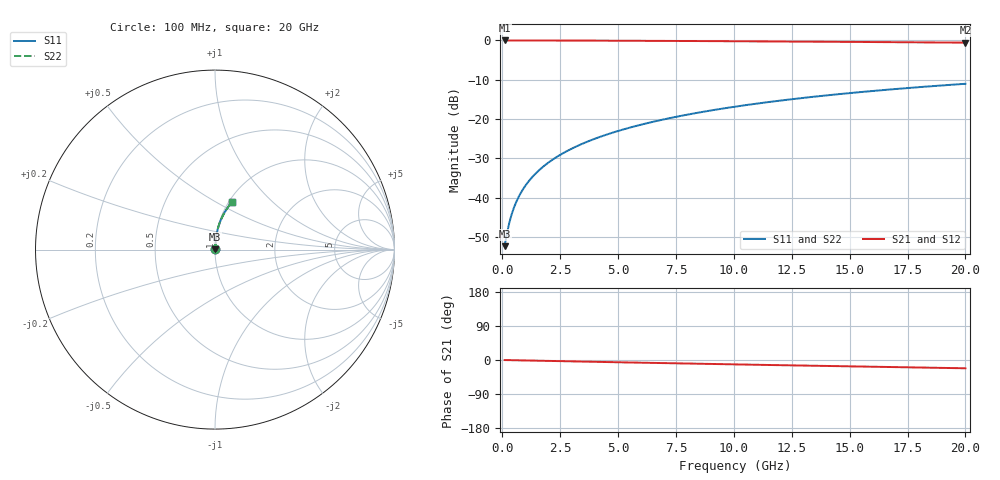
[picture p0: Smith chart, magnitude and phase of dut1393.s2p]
! Touchstone file exported from HFSS 2024.1.0
!  File:  C:/UserFiles/LocalFiles/RDL_TSV_Batchsim/temp_RDL_top_1393_1780367842.aedt
!  Generated:  10:39:49 AM Jun  2, 2026
!  Design:  RDL_top
!  Project:  temp_RDL_top_1393_1780367842
!  Setup:  Setup1
!  Solution:  Sweep
! Variables:
!  dtsv = 10.80580581um
!  hbump = 3um
!  htsv = 54.19um
!  ldown = 100um
!  lrdl = 232.02um
!  p = 40
!  p1 = 54.98um
!  rhole = 1um
!  t = 450um
!  tdown = 3.915915916um
!  trdl = 3.2um
!  wdown = 15.38538539um
!  wrdl = 14.7um
# GHz S MA R 50.000000
! Terminal data exported
! Port[1] = Box2_T1
! Port[2] = Box2_T2
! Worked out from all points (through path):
!   200 points, 100 MHz to 20 GHz, reference 50 ohm
!   highest |S21| = -0.02 dB at 100 MHz (marker M1); lowest = -0.6 dB at 20 GHz (marker M2)
!   group delay of S21, straight-line fit = 3.02 ps
!   lowest |S11| = -52.3 dB at 100 MHz (marker M3), VSWR 1.00, Z = 50.2 + j0.145 ohm
!   |S11| at or under -10 dB: start of sweep to end of sweep
!   |S22| runs from -52.3 to -11.0 dB; largest |S21 - S12| = 3.1e-15
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0.1  0.002413 36.9  0.9981 -0.1  0.9981 -0.1  0.002413 36.9
! Gamma 0 0 0 0
! Port Impedance 50 0 50 0
0.2  0.003491 55.8  0.998 -0.3  0.998 -0.3  0.003491 55.8
0.3  0.004756 65.0  0.998 -0.4  0.998 -0.4  0.004756 65.0
0.4  0.006079 70.2  0.9979 -0.5  0.9979 -0.5  0.006079 70.2
0.5  0.007423 73.4  0.9978 -0.6  0.9978 -0.6  0.007423 73.4
0.6  0.008775 75.7  0.9978 -0.7  0.9978 -0.7  0.008775 75.7
0.8  0.01149 78.7  0.9976 -1.0  0.9976 -1.0  0.01149 78.7
1.1  0.01559 81.2  0.9974 -1.3  0.9974 -1.3  0.01559 81.2
1.5  0.0211 83.0  0.9971 -1.8  0.9971 -1.8  0.0211 83.0
1.8  0.02525 83.8  0.9968 -2.2  0.9968 -2.2  0.02525 83.8
2.1  0.02942 84.3  0.9964 -2.6  0.9964 -2.6  0.02942 84.3
2.7  0.0378 84.8  0.9955 -3.3  0.9955 -3.3  0.0378 84.8
3.5  0.04906 85.0  0.9941 -4.2  0.9941 -4.2  0.04906 85.0
4.2  0.059 84.9  0.9927 -5.0  0.9927 -5.0  0.059 84.9
5  0.07043 84.6  0.9908 -6.0  0.9908 -6.0  0.07043 84.6
5.9  0.08338 84.1  0.9885 -7.0  0.9885 -7.0  0.08337 84.1
6.8  0.09639 83.5  0.9859 -8.0  0.9859 -8.0  0.09639 83.5
8.3  0.1181 82.2  0.9813 -9.7  0.9813 -9.7  0.1181 82.2
10.1  0.1442 80.5  0.9753 -11.7  0.9753 -11.7  0.1442 80.5
13.4  0.1913 77.2  0.9632 -15.1  0.9632 -15.1  0.1913 77.2
16.7  0.2369 73.8  0.95 -18.5  0.95 -18.5  0.2369 73.8
20  0.2805 70.4  0.9358 -21.8  0.9358 -21.8  0.2805 70.4
